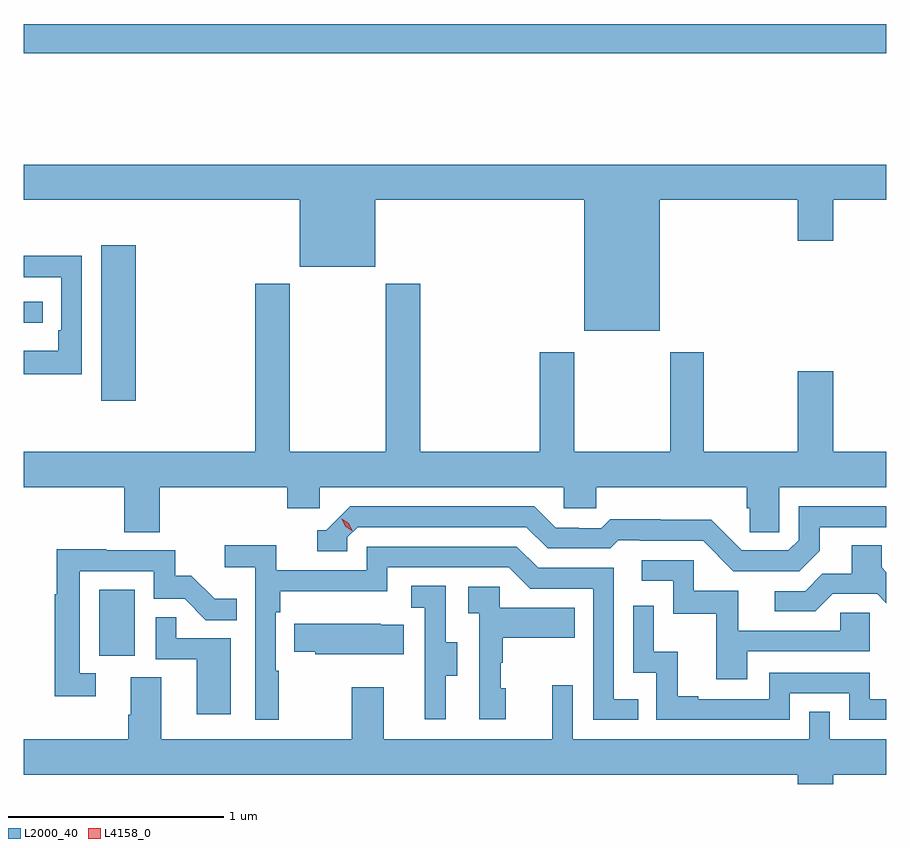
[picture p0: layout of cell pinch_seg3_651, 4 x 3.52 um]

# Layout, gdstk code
import gdstk
lib = gdstk.Library(unit=1e-6, precision=1e-09)
def R(c, l, rs):  # rectangles x0, y0, x1, y1
    for r in rs: c.add(gdstk.rectangle(r[:2], r[2:], *l))
def P(c, l, *ps):  # polygons
    for p in ps: c.add(gdstk.Polygon(p, *l))
L2000_40 = (2000, 40)
L4158_0 = (4158, 0)

pinch_seg3_651 = lib.new_cell('pinch_seg3_651')
R(pinch_seg3_651, L2000_40, [(1024.904,684.15,1025.068,684.457), (1024.913,685.332,1025.074,686.053), (1024.554,685.695,1024.642,685.791), (1024.554,686.944,1028.554,687.08)])
P(pinch_seg3_651, L2000_40, [(1027.504,686.264),(1028.144,686.264),(1028.144,686.076),(1028.308,686.076),(1028.308,686.264),(1028.554,686.264),(1028.554,686.428),(1024.554,686.428),(1024.554,686.264),(1025.834,686.264),(1025.834,685.955),(1026.184,685.955),(1026.184,686.264),(1027.154,686.264),(1027.154,685.658),(1027.504,685.658)],
  [(1024.824,686.006),(1024.554,686.006),(1024.554,685.905),(1024.728,685.905),(1024.728,685.66),(1024.715,685.66),(1024.715,685.564),(1024.554,685.564),(1024.554,685.455),(1024.824,685.455)],
  [(1025.186,684.932),(1025.777,684.932),(1025.777,684.834),(1025.928,684.834),(1025.928,684.932),(1027.059,684.932),(1027.059,684.834),(1027.209,684.834),(1027.209,684.932),(1027.907,684.932),(1027.907,684.834),(1027.921,684.834),(1027.921,684.724),(1028.058,684.724),(1028.058,684.932),(1028.554,684.932),(1028.554,685.096),(1028.308,685.096),(1028.308,685.471),(1028.144,685.471),(1028.144,685.096),(1027.707,685.096),(1027.707,685.558),(1027.552,685.558),(1027.552,685.096),(1027.107,685.096),(1027.107,685.558),(1026.947,685.558),(1026.947,685.096),(1026.392,685.096),(1026.392,685.876),(1026.232,685.876),(1026.232,685.096),(1025.787,685.096),(1025.787,685.876),(1025.627,685.876),(1025.627,685.096),(1024.554,685.096),(1024.554,684.932),(1025.021,684.932),(1025.021,684.724),(1025.186,684.724)],
  [(1028.245,684.637),(1028.245,684.747),(1028.554,684.747),(1028.554,684.843),(1028.148,684.843),(1028.148,684.687),(1028.1,684.639),(1027.884,684.639),(1027.742,684.781),(1027.506,684.781),(1027.506,684.784),(1027.273,684.784),(1027.231,684.741),(1027.128,684.741),(1027.128,684.744),(1027.021,684.744),(1026.922,684.843),(1026.069,684.843),(1025.958,684.732),(1025.915,684.732),(1025.915,684.636),(1026.054,684.636),(1026.054,684.699),(1026.102,684.747),(1026.885,684.747),(1026.984,684.648),(1027.273,684.648),(1027.312,684.687),(1027.411,684.687),(1027.411,684.684),(1027.704,684.684),(1027.845,684.543),(1028.151,684.543)],
  [(1025.737,684.08),(1025.724,684.08),(1025.724,684.353),(1025.744,684.353),(1025.744,684.449),(1026.24,684.449),(1026.24,684.561),(1026.804,684.561),(1026.903,684.462),(1027.194,684.462),(1027.194,683.853),(1027.403,683.853),(1027.403,683.949),(1027.29,683.949),(1027.29,684.558),(1026.94,684.558),(1026.841,684.657),(1026.144,684.657),(1026.144,684.546),(1025.726,684.546),(1025.726,684.662),(1025.487,684.662),(1025.487,684.56),(1025.628,684.56),(1025.628,683.853),(1025.737,683.853)],
  [(1028.305,684.438),(1028.511,684.438),(1028.554,684.395),(1028.554,684.539),(1028.533,684.56),(1028.533,684.662),(1028.393,684.662),(1028.393,684.53),(1028.258,684.53),(1028.178,684.45),(1028.037,684.45),(1028.037,684.357),(1028.224,684.357)],
  [(1024.888,684.069),(1024.815,684.069),(1024.815,684.543),(1025.157,684.543),(1025.157,684.414),(1025.301,684.414),(1025.399,684.316),(1025.543,684.316),(1025.543,684.415),(1025.439,684.415),(1025.332,684.522),(1025.256,684.522),(1025.256,684.639),(1024.937,684.639),(1024.937,684.644),(1024.707,684.644),(1024.707,684.436),(1024.699,684.436),(1024.699,683.964),(1024.888,683.964)],
  [(1027.909,684.171),(1028.478,684.171),(1028.478,684.351),(1028.341,684.351),(1028.341,684.267),(1027.867,684.267),(1027.867,684.453),(1027.662,684.453),(1027.662,684.594),(1027.419,684.594),(1027.419,684.498),(1027.566,684.498),(1027.566,684.345),(1027.765,684.345),(1027.765,684.042),(1027.909,684.042)],
  [(1026.511,684.058),(1026.565,684.058),(1026.565,684.213),(1026.51,684.213),(1026.51,684.476),(1026.351,684.476),(1026.351,684.373),(1026.414,684.373),(1026.414,684.069),(1026.413,684.069),(1026.413,683.856),(1026.511,683.856)],
  [(1026.79,684),(1026.765,684),(1026.765,684.119),(1026.775,684.119),(1026.775,684.233),(1027.109,684.233),(1027.109,684.373),(1026.762,684.373),(1026.762,684.471),(1026.615,684.471),(1026.615,684.347),(1026.666,684.347),(1026.666,683.856),(1026.79,683.856)],
  [(1028.106,683.976),(1028.382,683.976),(1028.382,683.853),(1028.554,683.853),(1028.554,683.949),(1028.478,683.949),(1028.478,684.072),(1028.01,684.072),(1028.01,683.949),(1027.681,683.949),(1027.681,683.962),(1027.586,683.962),(1027.586,684.17),(1027.476,684.17),(1027.476,684.382),(1027.38,684.382),(1027.38,684.072),(1027.488,684.072),(1027.488,683.853),(1028.106,683.853)],
  [(1025.515,684.231),(1025.261,684.231),(1025.261,684.329),(1025.166,684.329),(1025.166,684.135),(1025.357,684.135),(1025.357,683.88),(1025.515,683.88)],
  [(1026.317,684.295),(1026.209,684.295),(1026.209,684.298),(1025.809,684.298),(1025.809,684.169),(1025.907,684.169),(1025.907,684.158),(1026.317,684.158)],
  [(1028.308,683.6),(1028.554,683.6),(1028.554,683.764),(1028.292,683.764),(1028.292,683.891),(1028.196,683.891),(1028.196,683.764),(1027.101,683.764),(1027.101,684.013),(1027.004,684.013),(1027.004,683.764),(1026.223,683.764),(1026.223,684.004),(1026.076,684.004),(1026.076,683.764),(1025.191,683.764),(1025.191,684.05),(1025.051,684.05),(1025.051,683.876),(1025.039,683.876),(1025.039,683.764),(1024.554,683.764),(1024.554,683.6),(1028.144,683.6),(1028.144,683.556),(1028.308,683.556)])
P(pinch_seg3_651, L4158_0, [(1026.076,684.731),(1026.046,684.751),(1026.03,684.784),(1026.03,684.785),(1026.03,684.785),(1026.061,684.764),(1026.077,684.731),(1026.077,684.731)])

lib.write_gds('pinch_seg3_651.gds')
